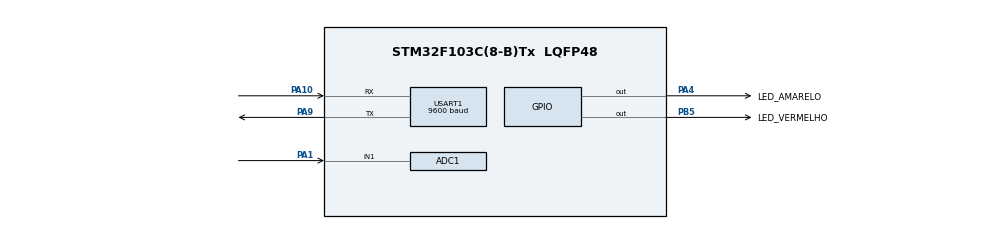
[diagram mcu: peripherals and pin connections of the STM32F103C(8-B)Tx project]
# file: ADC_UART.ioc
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Mcu.Family=STM32F1
NVIC.ADC1_2_IRQn=true\:0\:0\:false\:false\:true\:true\:true
ADC1.Rank-0\#ChannelRegularConversion=1
PA10.Mode=Asynchronous
ADC1.ContinuousConvMode=ENABLE
USART1.BaudRate=9600
VP_SYS_VS_ND.Mode=No_Debug
ProjectManager.StackSize=0x400
PA9.Mode=Asynchronous
ProjectManager.TargetToolchain=STM32CubeIDE
PA9.Signal=USART1_TX
PA1.Signal=ADCx_IN1
ADC1.Channel-0\#ChannelRegularConversion=ADC_CHANNEL_1
board=custom
RCC.APB2Freq_Value=8000000
Mcu.Name=STM32F103C(8-B)Tx
ADC1.SamplingTime-0\#ChannelRegularConversion=ADC_SAMPLETIME_1CYCLE_5
PA4.Signal=GPIO_Output
Mcu.Package=LQFP48
PB5.Signal=GPIO_Output
ADC1.master=1
USART1.VirtualMode=VM_ASYNC
PA10.Signal=USART1_RX
ProjectManager.HeapSize=0x200
NVIC.PriorityGroup=NVIC_PRIORITYGROUP_4
ADC1.NbrOfConversionFlag=1
SH.ADCx_IN1.0=ADC1_IN1,IN1
PB5.GPIO_Label=LED_VERMELHO
NVIC.USART1_IRQn=true\:0\:0\:false\:false\:true\:true\:true
RCC.APB1Freq_Value=8000000
PA4.GPIO_Label=LED_AMARELO

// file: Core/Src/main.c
/* USER CODE BEGIN Header */
/**
  ******************************************************************************
  * @file           : main.c
  * @brief          : Main program body
  ******************************************************************************
  * @attention
  *
  * <h2><center>&copy; Copyright (c) 2021 STMicroelectronics.
  * All rights reserved.</center></h2>
  *
  * This software component is licensed by ST under BSD 3-Clause license,
  * the "License"; You may not use this file except in compliance with the
  * License. You may obtain a copy of the License at:
  *                        opensource.org/licenses/BSD-3-Clause
  *
  ******************************************************************************
  */
/* USER CODE END Header */
#include "main.h"

/* USER CODE BEGIN Includes */
#include <stdio.h>
#include <string.h>

/* USER CODE END Includes */

ADC_HandleTypeDef hadc1;

UART_HandleTypeDef huart1;

/* USER CODE BEGIN PV */
uint8_t DadoRX;
uint16_t val_adc;
int i = 0, adc_flag = 0;
char DadoTX[4];

/* USER CODE END PV */

void SystemClock_Config(void);
static void MX_GPIO_Init(void);
static void MX_USART1_UART_Init(void);
static void MX_ADC1_Init(void);
/* USER CODE BEGIN PFP */

/*void HAL_UART_RxCpltCallback(UART_HandleTypeDef *huart1);
void HAL_ADC_ConvCpltCallback(ADC_HandleTypeDef* hadc1);
*/
/* USER CODE END PFP */

/* USER CODE BEGIN 0 */

/** quando a UART acabar de Receber os valores inseridos pelo usuário será feito uma das ações a seguir:
**	primeiro byte indica ação, segundo byte é a parte inteira do valor para o ADC e terceiro e quarto byte
**	serão a parte decimal.
**
**
**	1165: Acende o LED quando o valor de V_ADC for maior ou igual a 1.65
**	2165: Apaga o LED quando o valor de V_ADC for maior ou igual a 1.65
**  3615: Pisca o LED quando o valor de V_ADC for maior ou igual a 1.65
**
**/
void HAL_UART_RxCpltCallback(UART_HandleTypeDef *huart1)
{
	// enquanto o usuário digita os caracteres um LED (PA4) inverte seu estado lógico para indicar a transmissão
	// do dado.
	if (DadoRX != 'a' )
	{
		DadoTX[i] = DadoRX;
		++i;
		HAL_GPIO_TogglePin(LED_AMARELO_GPIO_Port, LED_AMARELO_Pin);

	}
	// assim que o usuário digita o caractere 'a' o processamento acaba e é impresso na UART o valor digitado
	else
	{
		adc_flag = 1;
		i = 0;

		HAL_UART_Transmit(huart1, (uint8_t *) DadoTX, 4, HAL_MAX_DELAY);
		HAL_UART_Transmit(huart1, (uint8_t *)("\r\n"), 2, HAL_MAX_DELAY);
	}
}

// assim que a conversão é finalizada a função HAL_ADC_ConvCpltCallback() é chamada
void HAL_ADC_ConvCpltCallback(ADC_HandleTypeDef* hadc1)
{
	// recebe o valor em decimal da conversão, varia entre 0 até 2¹² - 1 (0 até 4095)
	//val_adc = HAL_ADC_GetValue(hadc1);

	// converte o valor val_adc para seu equivalente da tensão de entrada
	// varia entre 0 - 3,3v. A multiplicação por 100 é usada para um valor inteiro
	// resultando em um número de 0 até 330
	//voltage =  (3.3 * val_adc / 4095) * 100;
	if (adc_flag)
	{
		 switch(DadoTX[0])
		 {
		 	 case('1'):
		 		HAL_GPIO_WritePin(LED_VERMELHO_GPIO_Port, LED_VERMELHO_Pin, 1);
		 	 	break;
		 	 case('2'):
		 		HAL_GPIO_WritePin(LED_VERMELHO_GPIO_Port, LED_VERMELHO_Pin, 0);
		 	 	break;
		 	 case('3'):
		 		for(int k = 0; k < 10; ++k)
		 		{
		 			HAL_GPIO_TogglePin(LED_VERMELHO_GPIO_Port, LED_VERMELHO_Pin);
		 			HAL_Delay(250);
		 		}
		 }
	}
}
/* USER CODE END 0 */

int main(void)
{

  /* MCU Configuration--------------------------------------------------------*/

  /* Reset of all peripherals, Initializes the Flash interface and the Systick. */
  HAL_Init();

  /* Configure the system clock */
  SystemClock_Config();

  /* Initialize all configured peripherals */
  MX_GPIO_Init();
  MX_USART1_UART_Init();
  MX_ADC1_Init();
  /* USER CODE BEGIN 2 */

  // inicializa o periférico da UART1
  HAL_UART_Init(&huart1);

  /*
  // inicializa o periférico do ADC1 e suas conversões
  // ADC1 está localizado em PA0
  HAL_ADC_Start_IT(&hadc1);*/

  /* USER CODE END 2 */

  /* Infinite loop */
  while (1)
  {

    /* USER CODE BEGIN 3 */
	HAL_UART_Receive_IT(&huart1, &DadoRX, 1);

	if (adc_flag)
	{
		// inicializa o periférico do ADC1 e suas conversões
		// ADC1 está localizado em PA0
		HAL_ADC_Start_IT(&hadc1);

		//adc_flag = 0;
	}
  }
  /* USER CODE END 3 */
}

void SystemClock_Config(void)
{
  RCC_OscInitTypeDef RCC_OscInitStruct = {0};
  RCC_ClkInitTypeDef RCC_ClkInitStruct = {0};
  RCC_PeriphCLKInitTypeDef PeriphClkInit = {0};

  /** Initializes the RCC Oscillators according to the specified parameters
  * in the RCC_OscInitTypeDef structure.
  */
  RCC_OscInitStruct.OscillatorType = RCC_OSCILLATORTYPE_HSI;
  RCC_OscInitStruct.HSIState = RCC_HSI_ON;
  RCC_OscInitStruct.HSICalibrationValue = RCC_HSICALIBRATION_DEFAULT;
  RCC_OscInitStruct.PLL.PLLState = RCC_PLL_NONE;
  if (HAL_RCC_OscConfig(&RCC_OscInitStruct) != HAL_OK)
  {
    Error_Handler();
  }
  /** Initializes the CPU, AHB and APB buses clocks
  */
  RCC_ClkInitStruct.ClockType = RCC_CLOCKTYPE_HCLK|RCC_CLOCKTYPE_SYSCLK
                              |RCC_CLOCKTYPE_PCLK1|RCC_CLOCKTYPE_PCLK2;
  RCC_ClkInitStruct.SYSCLKSource = RCC_SYSCLKSOURCE_HSI;
  RCC_ClkInitStruct.AHBCLKDivider = RCC_SYSCLK_DIV1;
  RCC_ClkInitStruct.APB1CLKDivider = RCC_HCLK_DIV1;
  RCC_ClkInitStruct.APB2CLKDivider = RCC_HCLK_DIV1;

  if (HAL_RCC_ClockConfig(&RCC_ClkInitStruct, FLASH_LATENCY_0) != HAL_OK)
  {
    Error_Handler();
  }
  PeriphClkInit.PeriphClockSelection = RCC_PERIPHCLK_ADC;
  PeriphClkInit.AdcClockSelection = RCC_ADCPCLK2_DIV2;
  if (HAL_RCCEx_PeriphCLKConfig(&PeriphClkInit) != HAL_OK)
  {
    Error_Handler();
  }
}

static void MX_ADC1_Init(void)
{

  ADC_ChannelConfTypeDef sConfig = {0};

  /** Common config
  */
  hadc1.Instance = ADC1;
  hadc1.Init.ScanConvMode = ADC_SCAN_DISABLE;
  hadc1.Init.ContinuousConvMode = ENABLE;
  hadc1.Init.DiscontinuousConvMode = DISABLE;
  hadc1.Init.ExternalTrigConv = ADC_SOFTWARE_START;
  hadc1.Init.DataAlign = ADC_DATAALIGN_RIGHT;
  hadc1.Init.NbrOfConversion = 1;
  if (HAL_ADC_Init(&hadc1) != HAL_OK)
  {
    Error_Handler();
  }
  /** Configure Regular Channel
  */
  sConfig.Channel = ADC_CHANNEL_1;
  sConfig.Rank = ADC_REGULAR_RANK_1;
  sConfig.SamplingTime = ADC_SAMPLETIME_1CYCLE_5;
  if (HAL_ADC_ConfigChannel(&hadc1, &sConfig) != HAL_OK)
  {
    Error_Handler();
  }

}

static void MX_USART1_UART_Init(void)
{

  huart1.Instance = USART1;
  huart1.Init.BaudRate = 9600;
  huart1.Init.WordLength = UART_WORDLENGTH_8B;
  huart1.Init.StopBits = UART_STOPBITS_1;
  huart1.Init.Parity = UART_PARITY_NONE;
  huart1.Init.Mode = UART_MODE_TX_RX;
  huart1.Init.HwFlowCtl = UART_HWCONTROL_NONE;
  huart1.Init.OverSampling = UART_OVERSAMPLING_16;
  if (HAL_UART_Init(&huart1) != HAL_OK)
  {
    Error_Handler();
  }

}

static void MX_GPIO_Init(void)
{
  GPIO_InitTypeDef GPIO_InitStruct = {0};

  /* GPIO Ports Clock Enable */
  __HAL_RCC_GPIOA_CLK_ENABLE();
  __HAL_RCC_GPIOB_CLK_ENABLE();

  /*Configure GPIO pin Output Level */
  HAL_GPIO_WritePin(LED_AMARELO_GPIO_Port, LED_AMARELO_Pin, GPIO_PIN_RESET);

  /*Configure GPIO pin Output Level */
  HAL_GPIO_WritePin(LED_VERMELHO_GPIO_Port, LED_VERMELHO_Pin, GPIO_PIN_RESET);

  /*Configure GPIO pin : LED_AMARELO_Pin */
  GPIO_InitStruct.Pin = LED_AMARELO_Pin;
  GPIO_InitStruct.Mode = GPIO_MODE_OUTPUT_PP;
  GPIO_InitStruct.Pull = GPIO_NOPULL;
  GPIO_InitStruct.Speed = GPIO_SPEED_FREQ_LOW;
  HAL_GPIO_Init(LED_AMARELO_GPIO_Port, &GPIO_InitStruct);

  /*Configure GPIO pin : LED_VERMELHO_Pin */
  GPIO_InitStruct.Pin = LED_VERMELHO_Pin;
  GPIO_InitStruct.Mode = GPIO_MODE_OUTPUT_PP;
  GPIO_InitStruct.Pull = GPIO_NOPULL;
  GPIO_InitStruct.Speed = GPIO_SPEED_FREQ_LOW;
  HAL_GPIO_Init(LED_VERMELHO_GPIO_Port, &GPIO_InitStruct);

}

void Error_Handler(void)
{
  __disable_irq();
  while (1)
  {
  }
}

/************************ (C) COPYRIGHT STMicroelectronics *****END OF FILE****/
